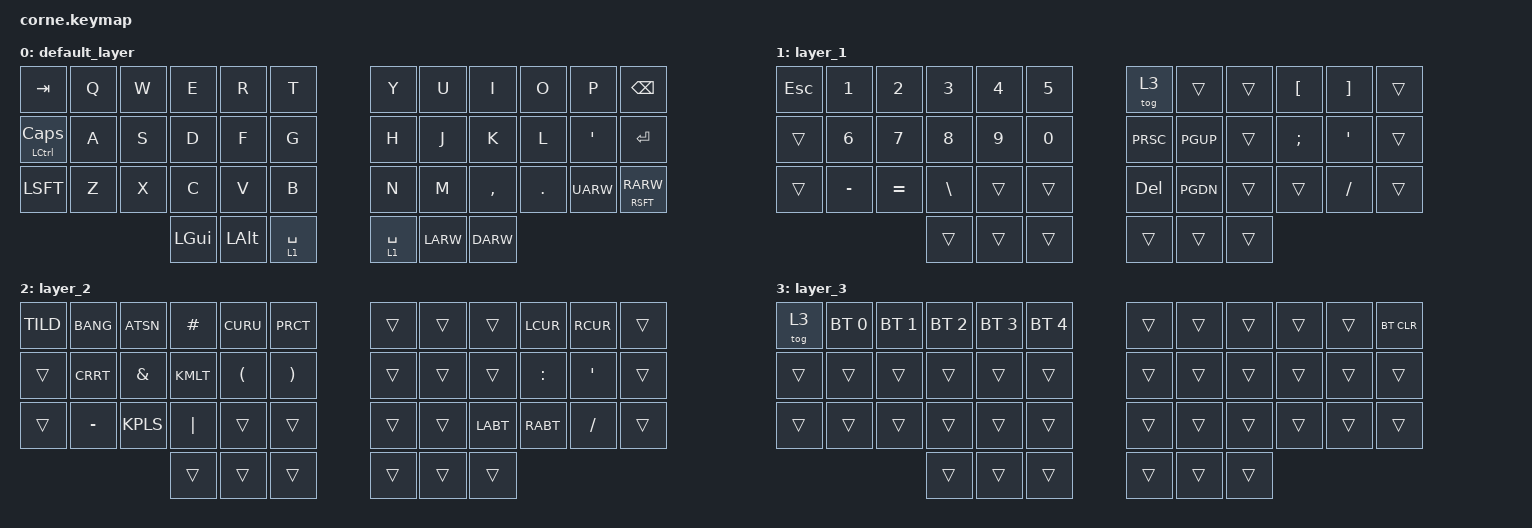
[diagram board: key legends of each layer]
#include <behaviors.dtsi>
#include <dt-bindings/zmk/keys.h>
#include <dt-bindings/zmk/bt.h>

&mt {
	tapping_term_ms=<400>;	
};

/ {

	behaviors {
        hm: homerow_mods {
            compatible = "zmk,behavior-hold-tap";
            label = "HOMEROW_MODS";
            #binding-cells = <2>;
            tapping_term_ms = <175>;
            flavor = "balanced";
            bindings = <&kp>, <&kp>;
        };
    };
        keymap {
                compatible = "zmk,keymap";

                default_layer {
// -----------------------------------------------------------------------------------------
// |  TAB      |  Q  |  W  |  E  |  R  |  T  |   |  Y  |  U   |  I  |  O  |  P  | BKSP |
// | CTRL+CLCK |  A  |  S  |  D  |  F  |  G  |   |  H  |  J   |  K  |  L  |  '  |  ENT  |
// | SHFT      |  Z  |  X  |  C  |  V  |  B  |   |  N  |  M   |  ,  |  .  |  UP  | RIGHT-RSFT |
//                    | GUI | ALT |SPC-l1|    |SPC-1l| LFT  | DWN |
                        bindings = <
   &kp TAB  &kp Q &kp W &kp E &kp R &kp T   &kp Y &kp U  &kp I    &kp O   &kp P    &kp BKSP
   &mt LCTL CLCK &kp A &kp S &kp D &kp F &kp G   &kp H &kp J  &kp K    &kp L   &kp QUOT &kp RET
   &kp LSFT &kp Z &kp X &kp C &kp V &kp B   &kp N &kp M  &kp CMMA &kp DOT &kp UARW &mt RSFT RARW
                   &kp LGUI &kp LALT &lt 1 SPC   &lt 1 SPC &kp LARW &kp DARW
                        >;
                };
                layer_1 {
// -----------------------------------------------------------------------------------------
// |  ESC |  1  |  2  |  3  |  4  |  5  |   | T3  |     |     |   [ |  ]  |      |
// |      |  6  |  7  |  8  |  9  |  0  |   | PRSC| PGUP|     |   ; |  '  |      |
// |      |  -  |  =  |  \  | VOL-|VOL+ |	| DEL | PGDN|  ,  |  .  |  /  |      |
//                    |     |     |     |   |     |     |     |
                        bindings = <
   &kp ESC    &kp NUM_1    &kp NUM_2    &kp NUM_3    &kp NUM_4    &kp NUM_5         &tog 3 &trans &trans &kp LBKT &kp RBKT &trans
   &trans &kp NUM_6  &kp NUM_7 &kp NUM_8 &kp NUM_9 &kp NUM_0      &kp PRSC &kp PGUP &trans  &kp SCLN  &kp QUOT    &trans
   &trans   &kp MINUS      &kp EQL       &kp BSLH       &trans       &trans            &kp DEL    &kp PGDN    &trans    &trans    &kp FSLH    &trans
                                        &trans    &trans       &trans           &trans &trans &trans
                        >;
                };

                layer_2 {
// -----------------------------------------------------------------------------------------
// | ~    |  !  |  @  |  #  |  $  |  %  |   |     |     |     |  {  |  }  |      |
// |      |  ^  |  &  |  *  |  (  |  )  |   |     |     |     |  :  |  "**  |      |
// |      |  _**  |  +  | '|' |     |     |   |     |     |  <  |  >  |  ?**  |      | 
//                    |     |     |     |   |     |     |     |
                        bindings = <
   &kp TILD &kp BANG  &kp ATSN  &kp HASH  &kp CURU  &kp PRCT    &trans  &trans &trans &kp LCUR &kp RCUR &trans
   &trans &kp CRRT     &kp AMPS    &kp KMLT    &kp LPRN    &kp RPRN     &trans &trans  &trans &kp COLN &kp QUOT &trans
   &trans &kp MINUS     &kp KPLS    &kp PIPE    &trans    &trans      &trans    &trans   &kp LABT   &kp RABT   &kp FSLH &trans
                                      &trans &trans &trans   &trans &trans &trans
                        >;
                };

                layer_3 {
// -----------------------------------------------------------------------------------------
// |T3    |  BT0|  BT1| BT2 | BT3 | BT4 |   |     |     |     |     |     |BT_CLR|
// |      |     |     |     |     |     |   |     |     |     |     |     |      |
// |      |     |     |     |     |     |   |     |     |     |     |     |      |
//                    |     |     |     |   |     |     |     |
                        bindings = <
   &tog 3 &bt BT_SEL 0 &bt BT_SEL 1 &bt BT_SEL 2 &bt BT_SEL 3 &bt BT_SEL 4 	&trans &trans &trans &trans &trans &bt BT_CLR
   &trans &trans &trans &trans &trans &trans 	&trans &trans &trans &trans &trans &trans 
   &trans &trans &trans &trans &trans &trans 	&trans &trans &trans &trans &trans &trans 
                        &trans &trans &trans   	&trans &trans &trans
                        >;
                };
        };
};

